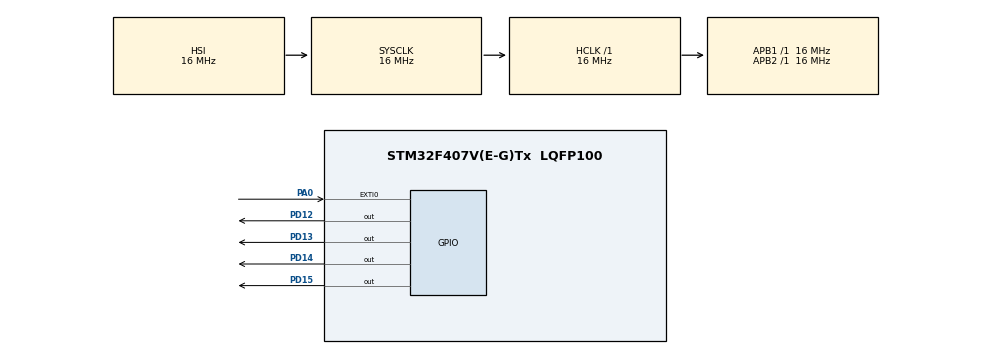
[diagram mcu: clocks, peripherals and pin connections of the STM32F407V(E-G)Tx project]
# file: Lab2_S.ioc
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Mcu.Family=STM32F4
Mcu.Name=STM32F407V(E-G)Tx
Mcu.Package=LQFP100
NVIC.EXTI0_IRQn=true\:0\:0\:false\:false\:true\:true\:true\:true
NVIC.PriorityGroup=NVIC_PRIORITYGROUP_4
PA0-WKUP.Signal=GPXTI0
PD12.Signal=GPIO_Output
PD13.Signal=GPIO_Output
PD14.Signal=GPIO_Output
PD15.Signal=GPIO_Output
ProjectManager.HeapSize=0x200
ProjectManager.StackSize=0x400
ProjectManager.TargetToolchain=STM32CubeIDE
RCC.AHBFreq_Value=16000000
RCC.APB1Freq_Value=16000000
RCC.APB2Freq_Value=16000000
RCC.CortexFreq_Value=16000000
RCC.HSE_VALUE=25000000
RCC.HSI_VALUE=16000000
RCC.LSE_VALUE=32768
RCC.SYSCLKFreq_VALUE=16000000
RCC.VCOOutputFreq_Value=192000000
board=custom

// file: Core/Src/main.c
/* USER CODE BEGIN Header */
/**
  ******************************************************************************
  * @file           : main.c
  * @brief          : Main program body
  ******************************************************************************
  * @attention
  *
  * Copyright (c) 2026 STMicroelectronics.
  * All rights reserved.
  *
  * This software is licensed under terms that can be found in the LICENSE file
  * in the root directory of this software component.
  * If no LICENSE file comes with this software, it is provided AS-IS.
  *
  ******************************************************************************
  */
/* USER CODE END Header */
#include "main.h"

/* USER CODE BEGIN PV */
volatile uint8_t current_mode = 0;
uint32_t last_switch_time = 0;
/* USER CODE END PV */

void SystemClock_Config(void);
static void MX_GPIO_Init(void);

int main(void)
{

  /* MCU Configuration--------------------------------------------------------*/

  /* Reset of all peripherals, Initializes the Flash interface and the Systick. */
  HAL_Init();

  /* Configure the system clock */
  SystemClock_Config();

  /* Initialize all configured peripherals */
  MX_GPIO_Init();

  /* Infinite loop */
  /* USER CODE BEGIN WHILE */
  uint16_t leds[4] = {GPIO_PIN_12, GPIO_PIN_13, GPIO_PIN_14, GPIO_PIN_15};
  uint8_t step = 0;
  last_switch_time = HAL_GetTick();
  while (1)
  {
	  if (HAL_GetTick() - last_switch_time >= 3000)
	  {
		  last_switch_time = HAL_GetTick();
		  current_mode = (current_mode + 1) % 4;
		  step = 0;
		  HAL_GPIO_WritePin(GPIOD, GPIO_PIN_12 | GPIO_PIN_13 | GPIO_PIN_14 | GPIO_PIN_15, GPIO_PIN_RESET);
	  }

	  switch (current_mode)
	  {
	    case 0:
		    HAL_GPIO_WritePin(GPIOD, GPIO_PIN_12 | GPIO_PIN_13 | GPIO_PIN_14 | GPIO_PIN_15, GPIO_PIN_RESET);
		    HAL_GPIO_WritePin(GPIOD, leds[step % 4], GPIO_PIN_SET);
		    step++;
		    HAL_Delay(200);
		    break;
	    case 1:
	    	HAL_GPIO_WritePin(GPIOD, GPIO_PIN_12 | GPIO_PIN_13 | GPIO_PIN_14 | GPIO_PIN_15, GPIO_PIN_RESET);
	    	HAL_GPIO_WritePin(GPIOD, leds[3 - (step % 4)], GPIO_PIN_SET);
	    	step++;
	    	HAL_Delay(200);
	    	break;
	    case 2:
	    	if (step % 2 == 0)
	    	{
	    		HAL_GPIO_WritePin(GPIOD, GPIO_PIN_12 | GPIO_PIN_14, GPIO_PIN_SET);
	    		HAL_GPIO_WritePin(GPIOD, GPIO_PIN_13 | GPIO_PIN_15, GPIO_PIN_RESET);
	    	}
	    	else
	    	{
	    		HAL_GPIO_WritePin(GPIOD, GPIO_PIN_12 | GPIO_PIN_14, GPIO_PIN_RESET);
	    		HAL_GPIO_WritePin(GPIOD, GPIO_PIN_13 | GPIO_PIN_15, GPIO_PIN_SET);
	    	}
	    	step++;
	    	HAL_Delay(250);
	    	break;
	    case 3:
	    	HAL_GPIO_TogglePin(GPIOD, GPIO_PIN_12 | GPIO_PIN_13 | GPIO_PIN_14 | GPIO_PIN_15);
	    	HAL_Delay(150);
	    	break;
	  }
    /* USER CODE END WHILE */

  }
}

void SystemClock_Config(void)
{
  RCC_OscInitTypeDef RCC_OscInitStruct = {0};
  RCC_ClkInitTypeDef RCC_ClkInitStruct = {0};

  /** Configure the main internal regulator output voltage
  */
  __HAL_RCC_PWR_CLK_ENABLE();
  __HAL_PWR_VOLTAGESCALING_CONFIG(PWR_REGULATOR_VOLTAGE_SCALE1);

  /** Initializes the RCC Oscillators according to the specified parameters
  * in the RCC_OscInitTypeDef structure.
  */
  RCC_OscInitStruct.OscillatorType = RCC_OSCILLATORTYPE_HSI;
  RCC_OscInitStruct.HSIState = RCC_HSI_ON;
  RCC_OscInitStruct.HSICalibrationValue = RCC_HSICALIBRATION_DEFAULT;
  RCC_OscInitStruct.PLL.PLLState = RCC_PLL_NONE;
  if (HAL_RCC_OscConfig(&RCC_OscInitStruct) != HAL_OK)
  {
    Error_Handler();
  }

  /** Initializes the CPU, AHB and APB buses clocks
  */
  RCC_ClkInitStruct.ClockType = RCC_CLOCKTYPE_HCLK|RCC_CLOCKTYPE_SYSCLK
                              |RCC_CLOCKTYPE_PCLK1|RCC_CLOCKTYPE_PCLK2;
  RCC_ClkInitStruct.SYSCLKSource = RCC_SYSCLKSOURCE_HSI;
  RCC_ClkInitStruct.AHBCLKDivider = RCC_SYSCLK_DIV1;
  RCC_ClkInitStruct.APB1CLKDivider = RCC_HCLK_DIV1;
  RCC_ClkInitStruct.APB2CLKDivider = RCC_HCLK_DIV1;

  if (HAL_RCC_ClockConfig(&RCC_ClkInitStruct, FLASH_LATENCY_0) != HAL_OK)
  {
    Error_Handler();
  }
}

static void MX_GPIO_Init(void)
{
  GPIO_InitTypeDef GPIO_InitStruct = {0};

  /* GPIO Ports Clock Enable */
  __HAL_RCC_GPIOA_CLK_ENABLE();
  __HAL_RCC_GPIOD_CLK_ENABLE();

  /*Configure GPIO pin Output Level */
  HAL_GPIO_WritePin(GPIOD, GPIO_PIN_12|GPIO_PIN_13|GPIO_PIN_14|GPIO_PIN_15, GPIO_PIN_RESET);

  /*Configure GPIO pin : PA0 */
  GPIO_InitStruct.Pin = GPIO_PIN_0;
  GPIO_InitStruct.Mode = GPIO_MODE_IT_RISING;
  GPIO_InitStruct.Pull = GPIO_NOPULL;
  HAL_GPIO_Init(GPIOA, &GPIO_InitStruct);

  /*Configure GPIO pins : PD12 PD13 PD14 PD15 */
  GPIO_InitStruct.Pin = GPIO_PIN_12|GPIO_PIN_13|GPIO_PIN_14|GPIO_PIN_15;
  GPIO_InitStruct.Mode = GPIO_MODE_OUTPUT_PP;
  GPIO_InitStruct.Pull = GPIO_NOPULL;
  GPIO_InitStruct.Speed = GPIO_SPEED_FREQ_LOW;
  HAL_GPIO_Init(GPIOD, &GPIO_InitStruct);

  /* EXTI interrupt init*/
  HAL_NVIC_SetPriority(EXTI0_IRQn, 0, 0);
  HAL_NVIC_EnableIRQ(EXTI0_IRQn);

}

/* USER CODE BEGIN 4 */
void HAL_GPIO_EXTI_Callback(uint16_t GPIO_Pin)
{
	if (GPIO_Pin == GPIO_PIN_0)
	{
		current_mode = (current_mode + 1) % 4;
		last_switch_time = HAL_GetTick();
	}
}
/* USER CODE END 4 */

void Error_Handler(void)
{
  __disable_irq();
  while (1)
  {
  }
}
